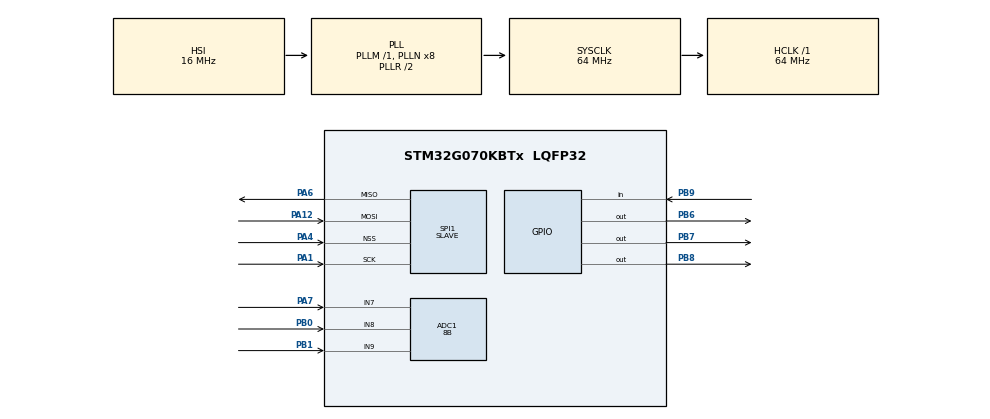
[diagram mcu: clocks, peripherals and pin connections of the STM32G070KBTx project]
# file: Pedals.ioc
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ADC1.Channel-1\#ChannelRegularConversion=ADC_CHANNEL_7
ADC1.Channel-2\#ChannelRegularConversion=ADC_CHANNEL_8
ADC1.Channel-3\#ChannelRegularConversion=ADC_CHANNEL_9
ADC1.ClockPrescaler=ADC_CLOCK_SYNC_PCLK_DIV2
ADC1.ContinuousConvMode=ENABLE
ADC1.DMAContinuousRequests=DISABLE
ADC1.DiscontinuousConvMode=DISABLE
ADC1.EOCSelection=ADC_EOC_SINGLE_CONV
ADC1.EnableAnalogWatchDog1=false
ADC1.NbrOfConversion=3
ADC1.NbrOfConversionFlag=1
ADC1.Overrun=ADC_OVR_DATA_PRESERVED
ADC1.Rank-1\#ChannelRegularConversion=1
ADC1.Rank-2\#ChannelRegularConversion=2
ADC1.Rank-3\#ChannelRegularConversion=3
ADC1.Resolution=ADC_RESOLUTION_8B
ADC1.SamplingTime-1\#ChannelRegularConversion=ADC_SAMPLINGTIME_COMMON_2
ADC1.SamplingTime-2\#ChannelRegularConversion=ADC_SAMPLINGTIME_COMMON_1
ADC1.SamplingTime-3\#ChannelRegularConversion=ADC_SAMPLINGTIME_COMMON_1
ADC1.SamplingTimeCommon1=ADC_SAMPLETIME_1CYCLE_5
ADC1.SamplingTimeCommon2=ADC_SAMPLETIME_1CYCLE_5
ADC1.SelectedChannel=ADC_CHANNEL_7|ADC_CHANNEL_8|ADC_CHANNEL_9
ADC1.master=1
Mcu.Family=STM32G0
Mcu.Name=STM32G070KBTx
Mcu.Package=LQFP32
NVIC.SPI1_IRQn=true\:0\:0\:false\:false\:true\:true\:true\:true
NVIC.TIM1_BRK_UP_TRG_COM_IRQn=true\:3\:0\:false\:false\:true\:false\:true\:true
NVIC.TimeBase=TIM1_BRK_UP_TRG_COM_IRQn
NVIC.TimeBaseIP=TIM1
PA1.Mode=Full_Duplex_Slave
PA1.Signal=SPI1_SCK
PA12\ [PA10].Mode=Full_Duplex_Slave
PA12\ [PA10].Signal=SPI1_MOSI
PA13.Mode=Serial_Wire
PA13.Signal=SYS_SWDIO
PA14-BOOT0.Mode=Serial_Wire
PA14-BOOT0.Signal=SYS_SWCLK
PA4.Mode=NSS_Signal_Hard_Input
PA4.Signal=SPI1_NSS
PA6.Mode=Full_Duplex_Slave
PA6.Signal=SPI1_MISO
PA7.Mode=IN7
PA7.Signal=ADC1_IN7
PB0.Mode=IN8
PB0.Signal=ADC1_IN8
PB1.Mode=IN9
PB1.Signal=ADC1_IN9
PB6.Signal=GPIO_Output
PB7.Signal=GPIO_Output
PB8.Signal=GPIO_Output
PB9.Signal=GPIO_Input
ProjectManager.HeapSize=0x200
ProjectManager.StackSize=0x400
ProjectManager.TargetToolchain=STM32CubeIDE
RCC.ADCFreq_Value=64000000
RCC.AHBFreq_Value=64000000
RCC.CodegenConfigPeriph=true
RCC.CortexFreq_Value=64000000
RCC.EXTERNAL_CLOCK_VALUE=48000
RCC.HCLKFreq_Value=64000000
RCC.HSE_VALUE=8000000
RCC.HSI_VALUE=16000000
RCC.LSE_VALUE=32768
RCC.SYSCLKFreq_VALUE=64000000
RCC.SYSCLKSource=RCC_SYSCLKSOURCE_PLLCLK
RCC.VCOOutputFreq_Value=128000000
RCC.VDD_VALUE=3.3
SPI1.CLKPolarity=SPI_POLARITY_LOW
SPI1.CRCCalculation=SPI_CRCCALCULATION_DISABLE
SPI1.DataSize=SPI_DATASIZE_8BIT
SPI1.Direction=SPI_DIRECTION_2LINES
SPI1.Mode=SPI_MODE_SLAVE
SPI1.TIMode=SPI_TIMODE_DISABLE
SPI1.VirtualNSS=VM_NSSHARD
SPI1.VirtualType=VM_SLAVE
VP_CRC_VS_CRC.Mode=CRC_Activate
VP_SYS_VS_tim1.Mode=TIM1
board=custom

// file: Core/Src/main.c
/* USER CODE BEGIN Header */
/**
 ******************************************************************************
 * @file           : main.c
 * @brief          : Main program body
 ******************************************************************************
 * @attention
 *
 * Copyright (c) 2023 STMicroelectronics.
 * All rights reserved.
 *
 * This software is licensed under terms that can be found in the LICENSE file
 * in the root directory of this software component.
 * If no LICENSE file comes with this software, it is provided AS-IS.
 *
 ******************************************************************************
 */
/* USER CODE END Header */
#include "main.h"

/* USER CODE BEGIN Includes */
#include <string.h>
//#include  "timers.h"
/* USER CODE END Includes */

/* USER CODE BEGIN PD */
//#define   USE_HAL_SPI_REGISTER_CALLBACKS 1U
/* USER CODE END PD */

ADC_HandleTypeDef hadc1;

CRC_HandleTypeDef hcrc;

SPI_HandleTypeDef hspi1;

void SystemClock_Config(void);
static void MX_GPIO_Init(void);
static void MX_SPI1_Init(void);
static void MX_ADC1_Init(void);
static void MX_CRC_Init(void);
/* USER CODE BEGIN PFP */
void select_adc_channel(int channel);
uint8_t AdcRawValues[3]={10,20,30};

uint8_t tx_data[4] = {0};
//uint8_t rx_data[4] = {0};

uint8_t data_r;

#define SPI_SLAVE_BUFFER_SIZE 256
#define TX_BUFFER_SIZE 1

typedef struct {
  uint8_t command;
  void (*callback)(void *data);
} CommandCallback;

uint8_t lol[]={0x15,0x32,0x12};

uint8_t lol1[]={0x10,0x11,0xBB};

void HAL_SPI_TxRxCpltCallback(SPI_HandleTypeDef *hspi){

	tx_data[2]=12;
	HAL_SPI_TransmitReceive_IT(&hspi1, tx_data, tx_data, 4);
}

/* USER CODE END PFP */

int main(void)
{
  /* USER CODE BEGIN 1 */
	//timer_handle=xTimerCreate("AdcTimer",pdMS_TO_TICKS(1000),pdTRUE,(void *)0,(TimerCallbackFunction_t)AdcGetValues);
	//xTimerStart(timer_handle,0);
	//HAL_ADC_Start_DMA(&hadc1, valuesadc, 3); // start adc in DMA mode

  /* USER CODE END 1 */

  /* MCU Configuration--------------------------------------------------------*/

  /* Reset of all peripherals, Initializes the Flash interface and the Systick. */
  HAL_Init();

  /* Configure the system clock */
  SystemClock_Config();

  /* Initialize all configured peripherals */
  MX_GPIO_Init();
  MX_SPI1_Init();
  MX_ADC1_Init();
  MX_CRC_Init();
  /* USER CODE BEGIN 2 */
  //HAL_SPI_Receive_IT(&hspi1,rx_data, 4);
  HAL_SPI_TransmitReceive_IT(&hspi1,tx_data,tx_data, 4);
  /* Enable SPI interrupt */
  HAL_NVIC_EnableIRQ(SPI1_IRQn);

  /* USER CODE END 2 */

  /* Infinite loop */
  while (1) {

  }
}

void SystemClock_Config(void)
{
  RCC_OscInitTypeDef RCC_OscInitStruct = {0};
  RCC_ClkInitTypeDef RCC_ClkInitStruct = {0};

  /** Configure the main internal regulator output voltage
  */
  HAL_PWREx_ControlVoltageScaling(PWR_REGULATOR_VOLTAGE_SCALE1);

  /** Initializes the RCC Oscillators according to the specified parameters
  * in the RCC_OscInitTypeDef structure.
  */
  RCC_OscInitStruct.OscillatorType = RCC_OSCILLATORTYPE_HSI;
  RCC_OscInitStruct.HSIState = RCC_HSI_ON;
  RCC_OscInitStruct.HSIDiv = RCC_HSI_DIV1;
  RCC_OscInitStruct.HSICalibrationValue = RCC_HSICALIBRATION_DEFAULT;
  RCC_OscInitStruct.PLL.PLLState = RCC_PLL_ON;
  RCC_OscInitStruct.PLL.PLLSource = RCC_PLLSOURCE_HSI;
  RCC_OscInitStruct.PLL.PLLM = RCC_PLLM_DIV1;
  RCC_OscInitStruct.PLL.PLLN = 8;
  RCC_OscInitStruct.PLL.PLLP = RCC_PLLP_DIV2;
  RCC_OscInitStruct.PLL.PLLR = RCC_PLLR_DIV2;
  if (HAL_RCC_OscConfig(&RCC_OscInitStruct) != HAL_OK)
  {
    Error_Handler();
  }

  /** Initializes the CPU, AHB and APB buses clocks
  */
  RCC_ClkInitStruct.ClockType = RCC_CLOCKTYPE_HCLK|RCC_CLOCKTYPE_SYSCLK
                              |RCC_CLOCKTYPE_PCLK1;
  RCC_ClkInitStruct.SYSCLKSource = RCC_SYSCLKSOURCE_PLLCLK;
  RCC_ClkInitStruct.AHBCLKDivider = RCC_SYSCLK_DIV1;
  RCC_ClkInitStruct.APB1CLKDivider = RCC_HCLK_DIV1;

  if (HAL_RCC_ClockConfig(&RCC_ClkInitStruct, FLASH_LATENCY_2) != HAL_OK)
  {
    Error_Handler();
  }
}

static void MX_ADC1_Init(void)
{

  ADC_ChannelConfTypeDef sConfig = {0};

  /** Configure the global features of the ADC (Clock, Resolution, Data Alignment and number of conversion)
  */
  hadc1.Instance = ADC1;
  hadc1.Init.ClockPrescaler = ADC_CLOCK_SYNC_PCLK_DIV2;
  hadc1.Init.Resolution = ADC_RESOLUTION_8B;
  hadc1.Init.DataAlign = ADC_DATAALIGN_RIGHT;
  hadc1.Init.ScanConvMode = ADC_SCAN_ENABLE;
  hadc1.Init.EOCSelection = ADC_EOC_SINGLE_CONV;
  hadc1.Init.LowPowerAutoWait = DISABLE;
  hadc1.Init.LowPowerAutoPowerOff = DISABLE;
  hadc1.Init.ContinuousConvMode = ENABLE;
  hadc1.Init.NbrOfConversion = 3;
  hadc1.Init.DiscontinuousConvMode = DISABLE;
  hadc1.Init.ExternalTrigConv = ADC_SOFTWARE_START;
  hadc1.Init.ExternalTrigConvEdge = ADC_EXTERNALTRIGCONVEDGE_NONE;
  hadc1.Init.DMAContinuousRequests = DISABLE;
  hadc1.Init.Overrun = ADC_OVR_DATA_PRESERVED;
  hadc1.Init.SamplingTimeCommon1 = ADC_SAMPLETIME_1CYCLE_5;
  hadc1.Init.SamplingTimeCommon2 = ADC_SAMPLETIME_1CYCLE_5;
  hadc1.Init.OversamplingMode = DISABLE;
  hadc1.Init.TriggerFrequencyMode = ADC_TRIGGER_FREQ_HIGH;
  if (HAL_ADC_Init(&hadc1) != HAL_OK)
  {
    Error_Handler();
  }

  /** Configure Regular Channel
  */
  sConfig.Channel = ADC_CHANNEL_7;
  sConfig.Rank = ADC_REGULAR_RANK_1;
  sConfig.SamplingTime = ADC_SAMPLINGTIME_COMMON_2;
  if (HAL_ADC_ConfigChannel(&hadc1, &sConfig) != HAL_OK)
  {
    Error_Handler();
  }

  /** Configure Regular Channel
  */
  sConfig.Channel = ADC_CHANNEL_8;
  sConfig.Rank = ADC_REGULAR_RANK_2;
  sConfig.SamplingTime = ADC_SAMPLINGTIME_COMMON_1;
  if (HAL_ADC_ConfigChannel(&hadc1, &sConfig) != HAL_OK)
  {
    Error_Handler();
  }

  /** Configure Regular Channel
  */
  sConfig.Channel = ADC_CHANNEL_9;
  sConfig.Rank = ADC_REGULAR_RANK_3;
  if (HAL_ADC_ConfigChannel(&hadc1, &sConfig) != HAL_OK)
  {
    Error_Handler();
  }

}

static void MX_CRC_Init(void)
{

  hcrc.Instance = CRC;
  hcrc.Init.DefaultPolynomialUse = DEFAULT_POLYNOMIAL_ENABLE;
  hcrc.Init.DefaultInitValueUse = DEFAULT_INIT_VALUE_ENABLE;
  hcrc.Init.InputDataInversionMode = CRC_INPUTDATA_INVERSION_NONE;
  hcrc.Init.OutputDataInversionMode = CRC_OUTPUTDATA_INVERSION_DISABLE;
  hcrc.InputDataFormat = CRC_INPUTDATA_FORMAT_BYTES;
  if (HAL_CRC_Init(&hcrc) != HAL_OK)
  {
    Error_Handler();
  }

}

static void MX_SPI1_Init(void)
{

  /* SPI1 parameter configuration*/
  hspi1.Instance = SPI1;
  hspi1.Init.Mode = SPI_MODE_SLAVE;
  hspi1.Init.Direction = SPI_DIRECTION_2LINES;
  hspi1.Init.DataSize = SPI_DATASIZE_8BIT;
  hspi1.Init.CLKPolarity = SPI_POLARITY_LOW;
  hspi1.Init.CLKPhase = SPI_PHASE_1EDGE;
  hspi1.Init.NSS = SPI_NSS_HARD_INPUT;
  hspi1.Init.FirstBit = SPI_FIRSTBIT_MSB;
  hspi1.Init.TIMode = SPI_TIMODE_DISABLE;
  hspi1.Init.CRCCalculation = SPI_CRCCALCULATION_DISABLE;
  hspi1.Init.CRCPolynomial = 7;
  hspi1.Init.CRCLength = SPI_CRC_LENGTH_DATASIZE;
  hspi1.Init.NSSPMode = SPI_NSS_PULSE_DISABLE;
  if (HAL_SPI_Init(&hspi1) != HAL_OK)
  {
    Error_Handler();
  }

}

static void MX_GPIO_Init(void)
{
  GPIO_InitTypeDef GPIO_InitStruct = {0};

  /* GPIO Ports Clock Enable */
  __HAL_RCC_GPIOB_CLK_ENABLE();
  __HAL_RCC_GPIOA_CLK_ENABLE();

  /*Configure GPIO pin Output Level */
  HAL_GPIO_WritePin(GPIOB, GPIO_PIN_6|GPIO_PIN_7|GPIO_PIN_8, GPIO_PIN_RESET);

  /*Configure GPIO pin : PB9 */
  GPIO_InitStruct.Pin = GPIO_PIN_9;
  GPIO_InitStruct.Mode = GPIO_MODE_INPUT;
  GPIO_InitStruct.Pull = GPIO_NOPULL;
  HAL_GPIO_Init(GPIOB, &GPIO_InitStruct);

  /*Configure GPIO pins : PB6 PB7 PB8 */
  GPIO_InitStruct.Pin = GPIO_PIN_6|GPIO_PIN_7|GPIO_PIN_8;
  GPIO_InitStruct.Mode = GPIO_MODE_OUTPUT_PP;
  GPIO_InitStruct.Pull = GPIO_NOPULL;
  GPIO_InitStruct.Speed = GPIO_SPEED_FREQ_LOW;
  HAL_GPIO_Init(GPIOB, &GPIO_InitStruct);

}

void HAL_TIM_PeriodElapsedCallback(TIM_HandleTypeDef *htim)
{
  if (htim->Instance == TIM1) {
    HAL_IncTick();
  }
}

void Error_Handler(void)
{
  __disable_irq();
  while (1) {
  }
}

#ifdef  USE_FULL_ASSERT
/**
  * @brief  Reports the name of the source file and the source line number
  *         where the assert_param error has occurred.
  * @param  file: pointer to the source file name
  * @param  line: assert_param error line source number
  * @retval None
  */
void assert_failed(uint8_t *file, uint32_t line)
{
  /* USER CODE BEGIN 6 */
  /* User can add his own implementation to report the file name and line
     number,
     ex: printf("Wrong parameters value: file %s on line %d\r\n", file, line) */
  /* USER CODE END 6 */
}
#endif /* USE_FULL_ASSERT */
